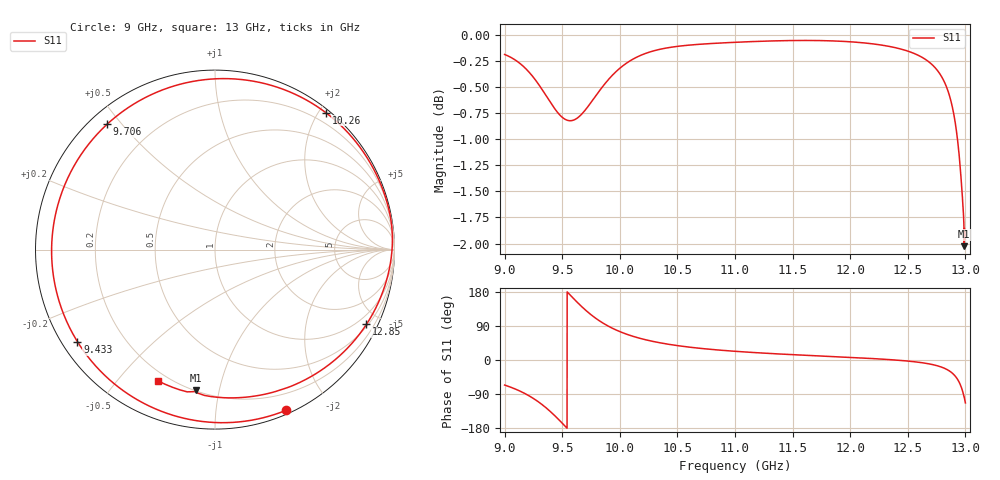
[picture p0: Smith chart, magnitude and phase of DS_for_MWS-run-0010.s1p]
! TOUCHSTONE file generated by CST DESIGN STUDIO
! Date and time: Tue Feb  4 17:43:58 2025
! Project name: C:\Work\MatlabApps\UnitCellOptimizationMatlab\CST\unitcell.cst
! Tree item: Tasks\Sweep1\SPara1\S-Parameters
! Header version: 2024
! Port assignment regex: !\s*Touchstone port\s*([0-9]+)\s*=\s*(CST MWS port|CST DES external port|CST DES block port)\s*(.+)\s* \(\"(.*)\"\)(\s*mode\s*([0-9]+))?.*
! Touchstone port assignment:
! Touchstone port 1 = CST DES external port 1 ("")
# GHz S MA R 50
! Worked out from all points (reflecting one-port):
!   4001 points, 9 GHz to 13 GHz, reference 50 ohm
!   lowest |S11| = -2.0 dB at 12.99 GHz (marker M1), VSWR 8.62, Z = 10.1 - j42.6 ohm
!   phase of S11 starts at -66 deg and turns -407 deg over the sweep
!   S11 on the Smith chart (normalised r, x): 9 GHz: 0.04, -1.54; 9.433 GHz: 0.04, -0.30; 9.706 GHz: 0.05, +0.46; 10.26 GHz: 0.05, +2.10; 12.85 GHz: 0.58, -4.21; 13 GHz: 0.16, -0.65
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9  0.979 -66.1
9.126  0.97 -81.0
9.257  0.9534 -102.9
9.347  0.9378 -122.9
9.433  0.9223 -146.2
9.5  0.9133 -166.6
9.547  0.9102 178.4
9.595  0.9103 163.2
9.653  0.9146 145.6
9.706  0.9215 130.7
9.767  0.9312 115.5
9.833  0.942 101.4
9.908  0.9531 88.1
10  0.9641 75.0
10.12  0.9743 62.0
10.258  0.9816 51.0
10.5  0.9878 38.0
11  0.9922 23.0
11.5  0.9941 14.1
12  0.9928 6.9
12.5  0.9826 -2.8
12.711  0.968 -11.8
12.847  0.9409 -26.3
12.896  0.9185 -37.4
12.932  0.8906 -51.1
12.96  0.8571 -68.3
12.989  0.792 -97.8
13  0.7977 -113.3
